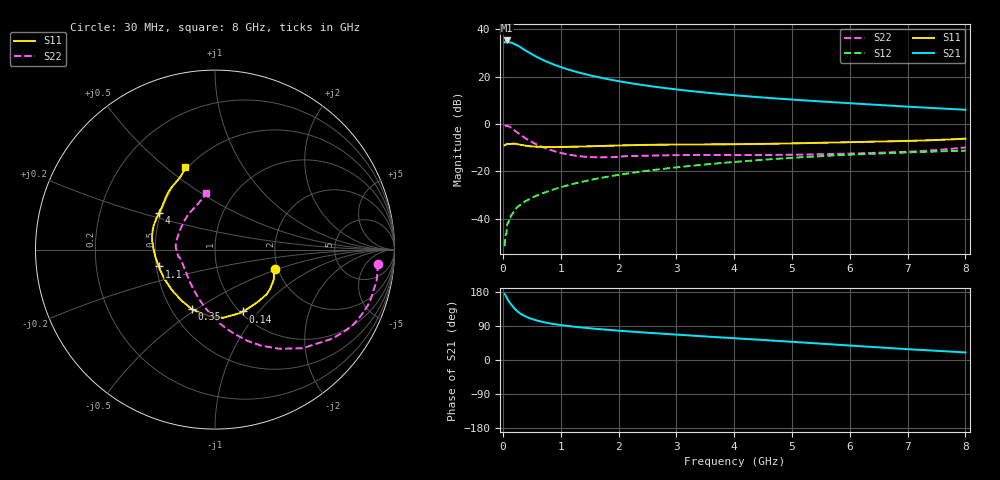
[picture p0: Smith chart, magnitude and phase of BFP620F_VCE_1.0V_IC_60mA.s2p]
! (c) 2014  Infineon Technologies AG, Munich
! Infineon Technologies  Discrete & RF Semiconductors
! BFP620F
! VCE =  1.0 V,  IC =  60 mA
! Common Emitter S-Parameters:  Dec 2014
# GHz  S  MA  R  50
!  f  S11  S21  S12  S22
! GHz  MAG  ANG  MAG  ANG  MAG  ANG  MAG  ANG
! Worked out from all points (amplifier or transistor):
!   95 points, 30 MHz to 8 GHz, reference 50 ohm
!   highest |S21| = 35.3 dB at 70 MHz (marker M1)
!   |S21| within 3 dB of that: start of sweep to 312.8 MHz
!   unconditionally stable (mu >= 1): 1.678 GHz to end of sweep
!   at 300 MHz: K = 0.54, MSG = 33.4 dB, |S12| = -34.3 dB
!   at 3.3 GHz: K = 1.03, MAG = 14.6 dB, |S12| = -17.6 dB
!   at 8 GHz: K = 1.05, MAG = 7.2 dB, |S12| = -11.3 dB
!   S11 on the Smith chart (normalised r, x): 30 MHz: 1.93, -0.47; 140 MHz: 1.03, -0.83; 350 MHz: 0.63, -0.48; 1.1 GHz: 0.52, -0.11; 4 GHz: 0.49, +0.23; 8 GHz: 0.49, +0.59
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0.03  0.3523 -17.7  52.98 174.3  0.0026 88.2  0.9107 -5.0
0.06  0.3712 -31.0  57.62 166.9  0.0047 87.1  0.9124 -13.8
0.07  0.3771 -35.6  58.13 163.7  0.0063 81.8  0.9109 -16.8
0.09  0.3774 -45.3  56.62 158.1  0.008 77.5  0.8979 -22.6
0.12  0.375 -58.6  52.9 151.3  0.0105 78.7  0.8614 -31.0
0.14  0.3778 -65.8  52.21 147.3  0.0116 74.4  0.8274 -36.0
0.2  0.3827 -83.3  48.87 136.0  0.0147 71.0  0.7346 -48.4
0.25  0.3726 -94.4  45.77 128.7  0.0174 68.1  0.6589 -57.0
0.3  0.363 -103.1  42.21 122.7  0.0193 66.6  0.5941 -64.3
0.35  0.3564 -111.3  38.25 118.1  0.0215 65.8  0.5384 -70.6
0.45  0.3404 -122.9  32.37 111.0  0.0254 65.7  0.4503 -81.1
0.6  0.3293 -137.1  25.53 103.7  0.031 65.9  0.3593 -94.0
0.8  0.3254 -150.1  19.69 97.0  0.0382 66.3  0.287 -108.3
1.1  0.3261 -163.3  14.52 90.2  0.0496 66.8  0.229 -127.4
1.4  0.3342 -172.5  11.46 85.2  0.061 66.4  0.2033 -143.8
2  0.3492 174.3  8.024 77.5  0.0836 64.0  0.2012 -167.4
2.7  0.363 163.4  5.949 70.0  0.1095 60.1  0.2149 -179.6
4  0.3718 147.1  4.046 57.5  0.1567 51.6  0.2201 165.6
4.1  0.3728 146.1  3.953 56.5  0.1602 50.9  0.2198 164.3
5.4  0.3966 134.3  3.04 44.1  0.2048 41.0  0.2273 144.3
6.7  0.4286 122.3  2.434 31.4  0.2417 30.4  0.2504 123.2
8  0.4884 109.8  1.993 19.9  0.2721 20.3  0.3185 98.8
